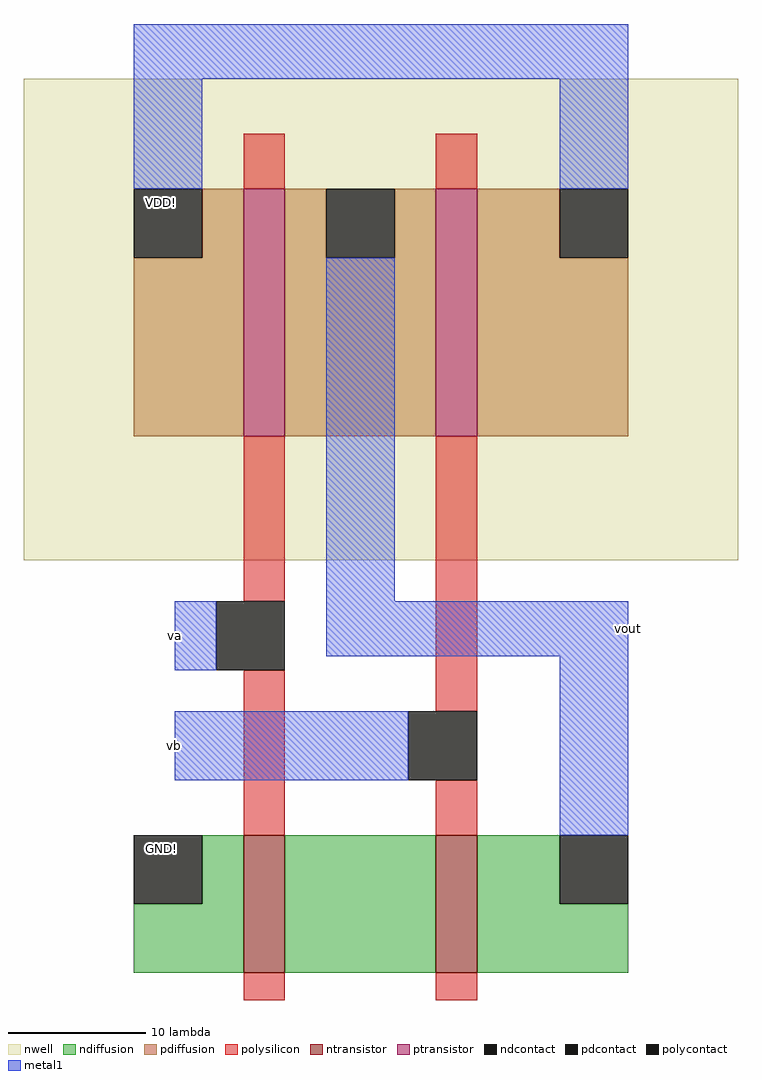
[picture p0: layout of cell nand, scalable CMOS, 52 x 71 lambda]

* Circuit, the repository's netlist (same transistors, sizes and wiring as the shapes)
* SPICE3 file created from nand.ext - technology: scmos

.option scale=0.1u

M1000 VDD vb vout w_n24_n9# pfet w=18 l=3
+  ad=342 pd=110 as=198 ps=58
M1001 a_n5_n39# va GND w_n1073741817_n1073741817# nfet w=10 l=3
+  ad=110 pd=42 as=80 ps=36
M1002 vout va VDD w_n24_n9# pfet w=18 l=3
+  ad=0 pd=0 as=0 ps=0
M1003 vout vb a_n5_n39# w_n1073741817_n1073741817# nfet w=10 l=3
+  ad=110 pd=42 as=0 ps=0

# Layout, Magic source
magic
tech scmos
<< nwell >>
rect -24 -9 28 26
<< ntransistor >>
rect -8 -39 -5 -29
rect 6 -39 9 -29
<< ptransistor >>
rect -8 0 -5 18
rect 6 0 9 18
<< ndiffusion >>
rect -11 -34 -8 -29
rect -16 -39 -8 -34
rect -5 -39 6 -29
rect 9 -34 15 -29
rect 9 -39 20 -34
<< pdiffusion >>
rect -11 13 -8 18
rect -16 0 -8 13
rect -5 13 -2 18
rect 3 13 6 18
rect -5 0 6 13
rect 9 13 15 18
rect 9 0 20 13
<< ndcontact >>
rect -16 -34 -11 -29
rect 15 -34 20 -29
<< pdcontact >>
rect -16 13 -11 18
rect -2 13 3 18
rect 15 13 20 18
<< polysilicon >>
rect -8 18 -5 22
rect 6 18 9 22
rect -8 -12 -5 0
rect -8 -29 -5 -17
rect 6 -20 9 0
rect 6 -29 9 -25
rect -8 -41 -5 -39
rect 6 -41 9 -39
<< polycontact >>
rect -10 -17 -5 -12
rect 4 -25 9 -20
<< metal1 >>
rect -16 26 20 30
rect -16 18 -11 26
rect 15 18 20 26
rect -2 -12 3 13
rect -13 -17 -10 -12
rect -2 -16 20 -12
rect -13 -25 4 -20
rect 15 -29 20 -16
<< labels >>
rlabel pdcontact -14 17 -14 17 1 VDD!
rlabel metal1 -13 -17 -13 -12 1 va
rlabel metal1 -13 -25 -13 -20 1 vb
rlabel metal1 20 -16 20 -12 1 vout
rlabel ndcontact -14 -30 -14 -30 1 GND!
<< end >>
